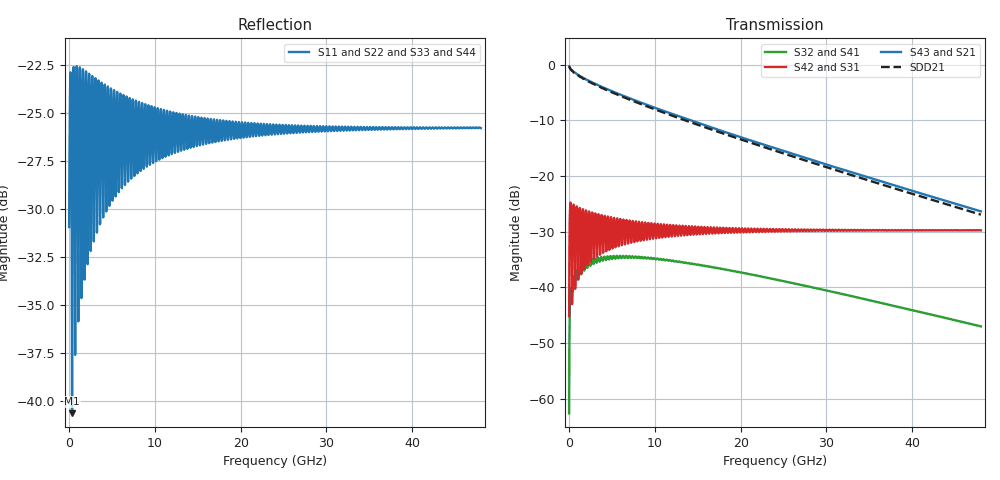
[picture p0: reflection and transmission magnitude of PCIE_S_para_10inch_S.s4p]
#	Hz	S	MA	R	50
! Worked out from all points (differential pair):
!   4800 points, 10 MHz to 48 GHz, reference 50 ohm
!   strongest paths, dB at 10 MHz, 12.01 GHz, 24.01 GHz, 36.01 GHz, 48 GHz:
!     S43: -0.3, -8.8, -15.0, -20.8, -26.4
!     S21: -0.3, -8.8, -15.0, -20.8, -26.4
!     S42: -45.2, -30.6, -30.0, -29.8, -29.8
!     S31: -45.2, -30.6, -30.0, -29.8, -29.8
!     S32: -62.7, -35.2, -38.6, -42.7, -47.0
!     S41: -62.7, -35.2, -38.6, -42.7, -47.0
!   taken as a pair (ports 3,1 in; 4,2 out), SDD21 dB: -0.3, -9.1, -15.4, -21.3, -26.9
!   lowest |S11| = -40.6 dB at 350 MHz (marker M1), VSWR 1.02, Z = 49.1 - j0.0445 ohm
!   |S11| at or under -10 dB: start of sweep to end of sweep
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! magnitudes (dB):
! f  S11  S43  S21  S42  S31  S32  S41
! 10 MHz  -30.9  -0.3  -0.3  -45.2  -45.2  -62.7  -62.7
! 350 MHz  -40.6  -1.0  -1.0  -43.0  -43.0  -42.1  -42.1
! 530 MHz  -22.6  -1.3  -1.3  -25.1  -25.1  -38.0  -38.0
! 710 MHz  -37.6  -1.4  -1.4  -40.3  -40.3  -39.7  -39.7
! 2.85 GHz  -29.5  -3.3  -3.3  -33.0  -33.0  -35.8  -35.8
! 9.38 GHz  -27.0  -7.4  -7.4  -30.8  -30.8  -34.9  -34.9
! 48 GHz  -25.8  -26.4  -26.4  -29.8  -29.8  -47.0  -47.0
